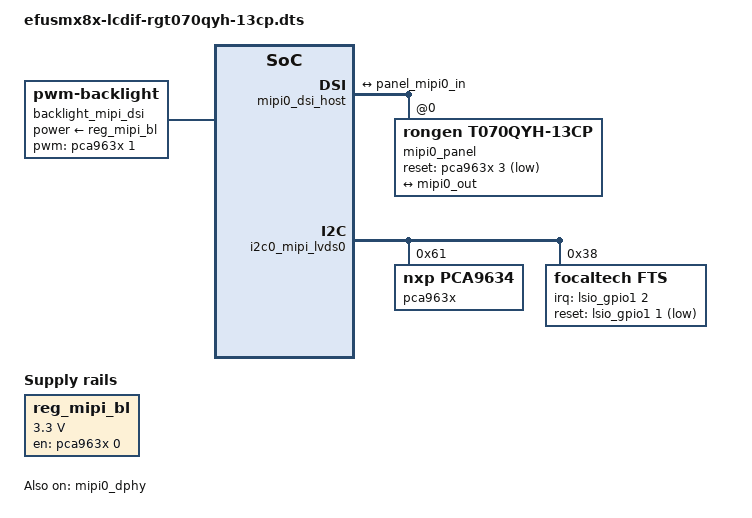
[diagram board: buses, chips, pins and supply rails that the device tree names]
/*
 * Copyright (C) 2019-2020 F&S Elektronik Systeme GmbH
 *
 * This program is free software; you can redistribute it and/or modify
 * it under the terms of the GNU General Public License version 2 as
 * published by the Free Software Foundation.
 */

/dts-v1/;

#define CONFIG_EFUSMX8X_MIPI_DSI
#define CONFIG_EFUSMX8X_CAPTOUCH_FT5x06

#include "efusmx8x.dts"

/ {
	regulators {
		reg_mipi_bl: backlight_mipi {
			compatible = "regulator-fixed";
			regulator-name = "mipi-bl";
			gpio = <&pca963x 0 0>;
			regulator-min-microvolt = <3300000>;
			regulator-max-microvolt = <3300000>;
			enable-active-high;
		};
	};

	backlight_mipi_dsi: backlight_mipi_dsi {
		compatible = "pwm-backlight";
		pwms = <&pca963x 1 640000 PWM_POLARITY_INVERTED>;
		power-supply = <&reg_mipi_bl>;
		brightness-levels = <0 1 5 10 18 28 41 56
				     73 92 113 137 163 192 222 255>;
		default-brightness-level = <13>;
	};
};

&mipi0_dphy {
	status = "okay";
};

&mipi0_dsi_host {
	status = "okay";

	mipi0_panel {
		#address-cells = <1>;
		#size-cells = <0>;
		status = "okay";
		compatible = "rongen,t070qyh-13cp";
		reset-gpios = <&pca963x 3 GPIO_ACTIVE_LOW>;
		reg = <0>;
		dsi-lanes = <4>;
		/* Video mode
		 * 0: burst mode
		 * 1: non-burst mode with sync event
		 * 2: non-burst mode with sync pulse
		 */
		video-mode = <0>;
		panel-width-mm = <94>;
		panel-height-mm = <150>;

		display-timings {
			timing {
				clock-frequency = <72000000>;
				hactive = <800>;
				vactive = <1280>;
				hback-porch = <72>;
				hfront-porch = <56>;
				vback-porch = <38>;
				vfront-porch = <3>;
				hsync-len = <128>;
				vsync-len = <10>;
				hsync-active = <0>;
				vsync-active = <0>;
				de-active = <0>;
				pixelclk-active = <0>;
			};
		};

		port@0 {
			reg = <0>;
			panel_mipi0_in: endpoint {
				remote-endpoint = <&mipi0_out>;
			};
		};
	};

	ports {
		port@1 {
			reg = <1>;
			mipi0_out: endpoint {
				remote-endpoint = <&panel_mipi0_in>;
			};
		};
	};
};

&i2c0_mipi_lvds0 {
	#address-cells = <1>;
	#size-cells = <0>;
	status = "okay";

	pca963x: pca9634@61 {
			compatible = "nxp,pca9634";
			reg = <0x61>;
			nxp,totem-pole;
			#address-cells = <1>;
			#size-cells = <0>;
			#pwm-cells = <3>;
			#gpio-cells = <2>;
			led@0 {
				reg = <0>;
				label = "BL_ON";
				type = "GPIO";
				active-high;
				default-on;		/* or: keep-value */
			};
			led@1 {
				reg = <1>;
				label = "BL_PWM";
				type = "PWM";
				active-high;
			};
			led@2 {
				reg = <2>;
				label = "2-unused";
				type = "LED";
				active-low;
			};
			led@3 {
				reg = <3>;
				label = "MIPI_RST";
				type = "GPIO";
				active-high;
				default-on;		/* or: keep-value */
			};
			led@4 {
				reg = <4>;
				label = "4-unused";
				type = "LED";
				active-low;
			};
			led@5 {
				reg = <5>;
				label = "TOUCH_RST";
				type = "GPIO";
				active-high;
				default-on;		/* or: keep-value */
			};
			led@6 {
				reg = <6>;
				label = "6-unused";
				type = "LED";
				active-low;
			};
			led@7 {
				reg = <7>;
				label = "7-unused";
				type = "LED";
				active-low;
			};
		};

	/* touch I2C */
	focaltech@38 {
		compatible = "focaltech,fts";
		reg = <0x38>;
		pinctrl-names = "default";
		pinctrl-0 = <&pinctrl_touch>;
		interrupt-parent = <&lsio_gpio1>;
		interrupts = <2 IRQ_TYPE_EDGE_FALLING>;
		focaltech,irq-gpio = <&lsio_gpio1 2 IRQ_TYPE_EDGE_FALLING>;
		focaltech,swap-xy;
		focaltech,touchscreen-inverted-y;
		focaltech,reset-gpio = <&lsio_gpio1 1 GPIO_ACTIVE_LOW>;
		focaltech,num-max-touches = <10>;
		focaltech,display-coords = <0 0 800 1280>;
	};
};

&iomuxc {
		pinctrl_touch: touch_grp {
			fsl,pins = <
				IMX8QXP_MIPI_DSI0_GPIO0_01_LSIO_GPIO1_IO28 0xc6000020
			>;
		};
};
